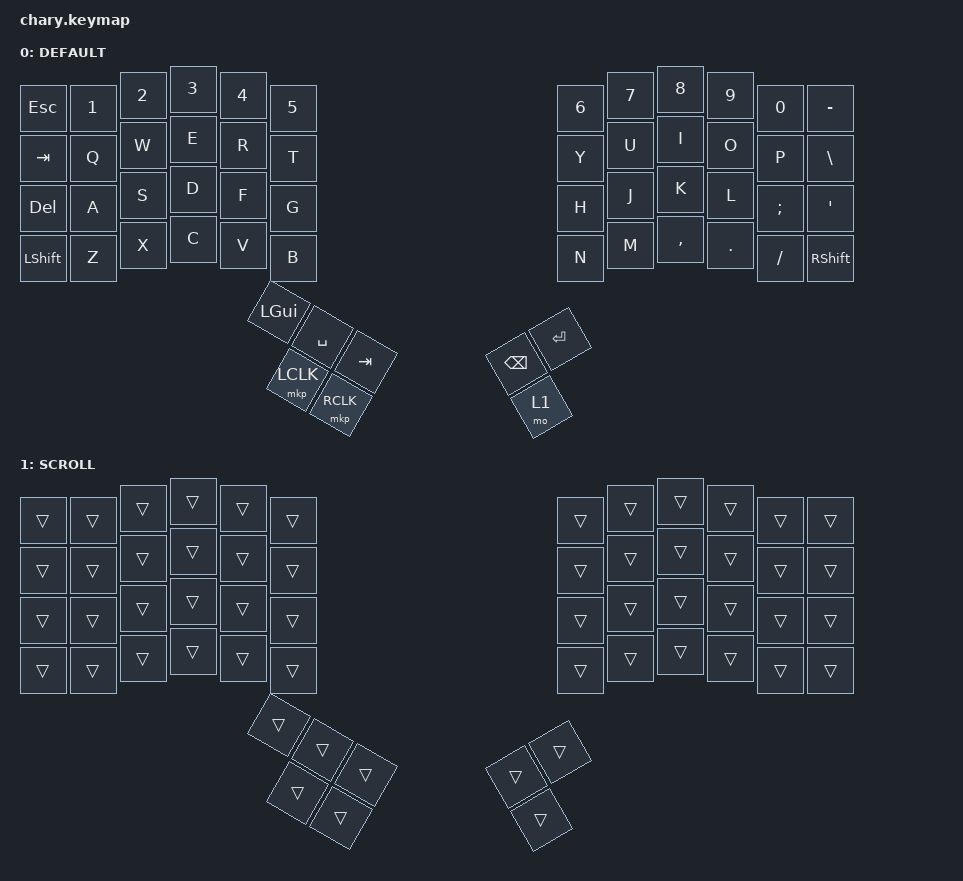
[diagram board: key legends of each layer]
#include <behaviors.dtsi>
#include <dt-bindings/zmk/bt.h>
#include <dt-bindings/zmk/keys.h>
#include <dt-bindings/zmk/outputs.h>
#include <dt-bindings/zmk/mouse.h>

#define DEFAULT 0
#define SCROLL 1

#define AS(keycode) &as LS(keycode) keycode

/ {
    combos {
        compatible = "zmk,combos";
    };

    keymap {
        compatible = "zmk,keymap";

        default_layer {
            label = "DEFAULT";
            bindings = <
&kp ESCAPE      &kp N1        &kp N2     &kp N3   &kp N4     &kp N5           &kp N6     &kp N7         &kp N8     &kp N9   &kp N0    &kp MINUS
&kp TAB         &kp Q         &kp W      &kp E    &kp R      &kp T            &kp Y      &kp U          &kp I      &kp O    &kp P     &kp BSLH
&kp DELETE      &kp A         &kp S      &kp D    &kp F      &kp G            &kp H      &kp J          &kp K      &kp L    &kp SEMI  &kp SINGLE_QUOTE
&kp LEFT_SHIFT  &kp Z         &kp X      &kp C    &kp V      &kp B            &kp N      &kp M          &kp COMMA  &kp DOT  &kp FSLH  &kp RSHIFT
                &kp LEFT_GUI  &kp SPACE  &kp TAB  &mkp RCLK  &mkp LCLK        &kp ENTER  &kp BACKSPACE  &mo 1
            >;
        };

        scroll {
            label = "SCROLL";
            bindings = <
&trans  &trans  &trans  &trans  &trans  &trans        &trans  &trans  &trans  &trans  &trans  &trans
&trans  &trans  &trans  &trans  &trans  &trans        &trans  &trans  &trans  &trans  &trans  &trans
&trans  &trans  &trans  &trans  &trans  &trans        &trans  &trans  &trans  &trans  &trans  &trans
&trans  &trans  &trans  &trans  &trans  &trans        &trans  &trans  &trans  &trans  &trans  &trans
        &trans  &trans  &trans  &trans  &trans        &trans  &trans  &trans
            >;
        };

        extra1 {
            status = "reserved";
        };

        extra2 {
            status = "reserved";
        };

        extra3 {
            status = "reserved";
        };

        extra4 {
            status = "reserved";
        };

        extra5 {
            status = "reserved";
        };
    };
};
